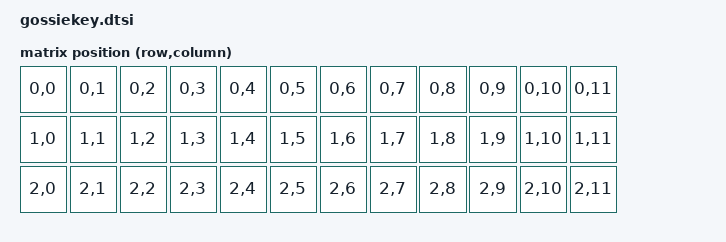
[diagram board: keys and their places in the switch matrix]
// GossieKey 3x5+3 — shared definitions
// Physical matrix: 3 rows × 6 cols per half → 3 rows × 12 cols combined
//
// Layout map (left half cols 0-5, right half cols 6-11):
//
//  L00 L01 L02 L03 L04 L05   R06 R07 R08 R09 R10 R11
//  L10 L11 L12 L13 L14 L15   R16 R17 R18 R19 R20 R21
//  L20 L21 L22 L23 L24 L25   R26 R27 R28 R29 R30 R31
//
// For a 3x5+3 layout the outer columns (L05, R06) and bottom-row thumbs
// (L23/L24/L25 or R29/R30/R31) are the thumb keys — adjust the keymap to suit.

#include <dt-bindings/zmk/matrix_transform.h>

/ {
    chosen {
        zmk,kscan = &kscan0;
        zmk,matrix-transform = &default_transform;
    };

    default_transform: keymap_transform_0 {
        compatible = "zmk,matrix-transform";
        columns = <12>;
        rows = <3>;
        map = 
            RC(0,0)  RC(0,1)  RC(0,2)  RC(0,3)  RC(0,4)  RC(0,5)   RC(0,6)  RC(0,7)  RC(0,8)  RC(0,9)  RC(0,10) RC(0,11)
            RC(1,0)  RC(1,1)  RC(1,2)  RC(1,3)  RC(1,4)  RC(1,5)   RC(1,6)  RC(1,7)  RC(1,8)  RC(1,9)  RC(1,10) RC(1,11)
            RC(2,0)  RC(2,1)  RC(2,2)  RC(2,3)  RC(2,4)  RC(2,5)   RC(2,6)  RC(2,7)  RC(2,8)  RC(2,9)  RC(2,10) RC(2,11)
        >;
    };

    kscan0: kscan_0 {
        compatible = "zmk,kscan-gpio-matrix";
    };
};
